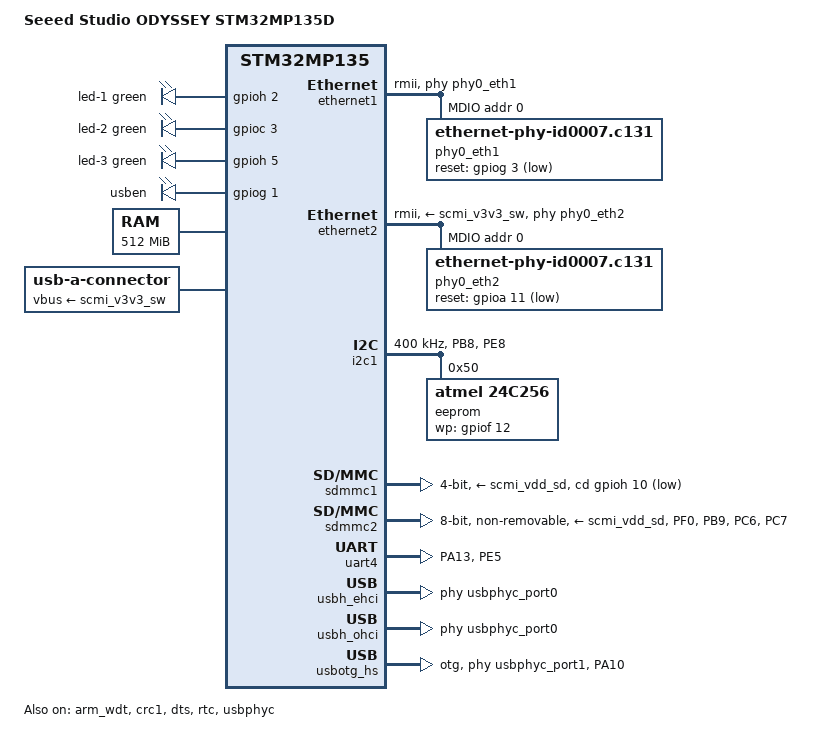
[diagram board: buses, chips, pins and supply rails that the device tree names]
// SPDX-License-Identifier: (GPL-2.0+ OR BSD-3-Clause)
/*
 * Seeed Studio ODYSSEY STM32MP135D U-Boot board device tree.
 * U-Boot appends stm32mp135d-odyssey-u-boot.dtsi when this file is built.
 * Node content matches the Linux 6.6 board tree.
 *
 * Board nodes follow xogium st-linux arch/arm/boot/dts/stm32mp135d-odyssey.dts
 * at tag v6.1-stm32mp-odyssey-r4, retargeted onto the Scarthgap STM32MP13
 * labels (ethernet1/ethernet2, scmi regulator nodes). STM32MP135F-DK devices
 * are not enabled: CRYP, the Discovery panel, the Wi-Fi SDIO slot, and the
 * Type-C controller.
 */

/dts-v1/;

#include <dt-bindings/gpio/gpio.h>
#include <dt-bindings/leds/common.h>
#include <dt-bindings/regulator/st,stm32mp13-regulator.h>
#include "stm32mp135.dtsi"
#include "stm32mp13xd.dtsi"
#include "stm32mp13-pinctrl.dtsi"

/ {
	model = "Seeed Studio ODYSSEY STM32MP135D";
	compatible = "st,stm32mp135d-odyssey", "st,stm32mp135";

	aliases {
		ethernet0 = &ethernet1;
		ethernet1 = &ethernet2;
		mmc0 = &sdmmc1;
		mmc1 = &sdmmc2;
		serial0 = &uart4;
		serial1 = &usart2;
	};

	chosen {
		stdout-path = "serial0:115200n8";
	};

	leds {
		compatible = "gpio-leds";

		led-1 {
			function = LED_FUNCTION_HEARTBEAT;
			color = <LED_COLOR_ID_GREEN>;
			gpios = <&gpioh 2 GPIO_ACTIVE_HIGH>;
			linux,default-trigger = "heartbeat";
			default-state = "off";
		};

		led-2 {
			function = LED_FUNCTION_DISK_READ;
			color = <LED_COLOR_ID_GREEN>;
			gpios = <&gpioc 3 GPIO_ACTIVE_HIGH>;
			linux,default-trigger = "mmc0";
			default-state = "off";
		};

		led-3 {
			function = LED_FUNCTION_DISK_WRITE;
			color = <LED_COLOR_ID_GREEN>;
			gpios = <&gpioh 5 GPIO_ACTIVE_HIGH>;
			linux,default-trigger = "mmc0";
			default-state = "off";
		};

		usben {
			label = "usben";
			gpios = <&gpiog 1 GPIO_ACTIVE_HIGH>;
			default-state = "on";
		};
	};

	memory@c0000000 {
		device_type = "memory";
		reg = <0xc0000000 0x20000000>;
	};

	reserved-memory {
		#address-cells = <1>;
		#size-cells = <1>;
		ranges;

		optee@dd000000 {
			reg = <0xdd000000 0x3000000>;
			no-map;
		};
	};
};

&arm_wdt {
	timeout-sec = <32>;
	status = "okay";
};

&crc1 {
	status = "okay";
};

&dts {
	status = "okay";
};

&ethernet1 {
	status = "okay";
	pinctrl-0 = <&eth1_rmii_pins_a>;
	pinctrl-1 = <&eth1_rmii_sleep_pins_a>;
	pinctrl-names = "default", "sleep";
	phy-mode = "rmii";
	max-speed = <100>;
	phy-handle = <&phy0_eth1>;
	nvmem-cells = <&eth1_mac_addr>;
	nvmem-cell-names = "mac-address";

	mdio {
		#address-cells = <1>;
		#size-cells = <0>;
		compatible = "snps,dwmac-mdio";

		phy0_eth1: ethernet-phy@0 {
			compatible = "ethernet-phy-id0007.c131";
			reset-gpios = <&gpiog 3 (GPIO_ACTIVE_LOW | GPIO_PULL_UP)>;
			reset-assert-us = <10000>;
			reset-deassert-us = <80000>;
			reg = <0>;
			wakeup-source;
		};
	};
};

&ethernet2 {
	status = "okay";
	pinctrl-0 = <&eth2_rmii_pins_a>;
	pinctrl-1 = <&eth2_rmii_sleep_pins_a>;
	pinctrl-names = "default", "sleep";
	phy-mode = "rmii";
	max-speed = <100>;
	phy-handle = <&phy0_eth2>;
	st,ext-phyclk;
	phy-supply = <&scmi_v3v3_sw>;
	nvmem-cells = <&eth2_mac_addr>;
	nvmem-cell-names = "mac-address";

	mdio {
		#address-cells = <1>;
		#size-cells = <0>;
		compatible = "snps,dwmac-mdio";

		phy0_eth2: ethernet-phy@0 {
			compatible = "ethernet-phy-id0007.c131";
			reset-gpios = <&gpioa 11 (GPIO_ACTIVE_LOW | GPIO_PULL_UP)>;
			reset-assert-us = <10000>;
			reset-deassert-us = <80000>;
			reg = <0>;
		};
	};
};

&i2c1 {
	pinctrl-names = "default", "sleep";
	pinctrl-0 = <&i2c1_pins_odyssey>;
	pinctrl-1 = <&i2c1_sleep_pins_odyssey>;
	i2c-scl-rising-time-ns = <300>;
	i2c-scl-falling-time-ns = <300>;
	clock-frequency = <400000>;
	status = "okay";
	/delete-property/dmas;
	/delete-property/dma-names;

	eeprom@50 {
		compatible = "atmel,24c256";
		reg = <0x50>;
		pagesize = <64>;
		wp-gpios = <&gpiof 12 GPIO_ACTIVE_HIGH>;
		#address-cells = <1>;
		#size-cells = <1>;

		eth1_mac_addr: mac@0 {
			reg = <0x0 0x6>;
		};

		eth2_mac_addr: mac@10 {
			reg = <0x10 0x6>;
		};
	};
};

&qspi {
	status = "disabled";
};

&rtc {
	status = "okay";
};

&sai1 {
	status = "disabled";
};

&scmi_regu {
	scmi_vddcpu: regulator@6 {
		reg = <VOLTD_SCMI_STPMIC1_BUCK1>;
		regulator-name = "vddcpu";
	};
	scmi_vdd: regulator@8 {
		reg = <VOLTD_SCMI_STPMIC1_BUCK3>;
		regulator-name = "vdd";
	};
	scmi_vddcore: regulator@9 {
		reg = <VOLTD_SCMI_STPMIC1_BUCK4>;
		regulator-name = "vddcore";
	};
	scmi_vdd_adc: regulator@a {
		reg = <VOLTD_SCMI_STPMIC1_LDO1>;
		regulator-name = "vdd_adc";
	};
	scmi_vdd_usb: regulator@d {
		reg = <VOLTD_SCMI_STPMIC1_LDO4>;
		regulator-name = "vdd_usb";
	};
	scmi_vdd_sd: regulator@e {
		reg = <VOLTD_SCMI_STPMIC1_LDO5>;
		regulator-name = "vdd_sd";
	};
	scmi_v1v8_periph: regulator@f {
		reg = <VOLTD_SCMI_STPMIC1_LDO6>;
		regulator-name = "v1v8_periph";
	};
	scmi_v3v3_sw: regulator@13 {
		reg = <VOLTD_SCMI_STPMIC1_PWR_SW2>;
		regulator-name = "v3v3_sw";
	};
};

&sdmmc1 {
	pinctrl-names = "default", "opendrain", "sleep";
	pinctrl-0 = <&sdmmc1_b4_pins_a &sdmmc1_clk_pins_a>;
	pinctrl-1 = <&sdmmc1_b4_od_pins_a &sdmmc1_clk_pins_a>;
	pinctrl-2 = <&sdmmc1_b4_sleep_pins_a>;
	cd-gpios = <&gpioh 10 (GPIO_ACTIVE_LOW | GPIO_PULL_UP)>;
	disable-wp;
	st,neg-edge;
	bus-width = <4>;
	vmmc-supply = <&scmi_vdd_sd>;
	status = "okay";
};

&sdmmc2 {
	pinctrl-names = "default", "opendrain", "sleep";
	pinctrl-0 = <&sdmmc2_b4_pins_a &sdmmc2_clk_pins_a &sdmmc2_d47_pins_a>;
	pinctrl-1 = <&sdmmc2_b4_od_pins_a &sdmmc2_clk_pins_a &sdmmc2_d47_pins_a>;
	pinctrl-2 = <&sdmmc2_b4_sleep_pins_a &sdmmc2_d47_sleep_pins_a>;
	non-removable;
	st,neg-edge;
	bus-width = <8>;
	vmmc-supply = <&scmi_vdd_sd>;
	vqmmc-supply = <&scmi_vdd_sd>;
	no-sd;
	no-sdio;
	mmc-ddr-3_3v;
	no-1-8-v;
	status = "okay";
};

&spi5 {
	status = "disabled";
};

&uart4 {
	pinctrl-names = "default", "sleep", "idle";
	pinctrl-0 = <&uart4_pins_odyssey>;
	pinctrl-1 = <&uart4_sleep_pins_odyssey>;
	pinctrl-2 = <&uart4_idle_pins_odyssey>;
	/delete-property/dmas;
	/delete-property/dma-names;
	status = "okay";
};

&usart2 {
	status = "disabled";
};

&usbh_ehci {
	phys = <&usbphyc_port0>;
	status = "okay";
};

&usbh_ohci {
	phys = <&usbphyc_port0>;
	status = "okay";
};

&usbotg_hs {
	pinctrl-0 = <&usbotg_hs_pins_odyssey>;
	pinctrl-names = "default";
	phys = <&usbphyc_port1 0>;
	phy-names = "usb2-phy";
	dr_mode = "otg";
	usb-role-switch;
	status = "okay";
};

&usbphyc {
	status = "okay";
};

&usbphyc_port0 {
	phy-supply = <&scmi_vdd_usb>;
	st,current-boost-microamp = <1000>;
	st,decrease-hs-slew-rate;
	st,tune-hs-dc-level = <2>;
	st,enable-hs-rftime-reduction;
	st,trim-hs-current = <11>;
	st,trim-hs-impedance = <2>;
	st,tune-squelch-level = <1>;
	st,enable-hs-rx-gain-eq;
	st,no-hs-ftime-ctrl;
	st,no-lsfs-sc;

	connector {
		compatible = "usb-a-connector";
		vbus-supply = <&scmi_v3v3_sw>;
	};
};

&usbphyc_port1 {
	phy-supply = <&scmi_vdd_usb>;
	st,current-boost-microamp = <1000>;
	st,decrease-hs-slew-rate;
	st,tune-hs-dc-level = <2>;
	st,enable-hs-rftime-reduction;
	st,trim-hs-current = <11>;
	st,trim-hs-impedance = <2>;
	st,tune-squelch-level = <1>;
	st,enable-hs-rx-gain-eq;
	st,no-hs-ftime-ctrl;
	st,no-lsfs-sc;
};

&pinctrl {
	i2c1_pins_odyssey: i2c1-odyssey {
		pins {
			pinmux = <STM32_PINMUX('B', 8, AF4)>, /* I2C1_SCL */
				 <STM32_PINMUX('E', 8, AF5)>; /* I2C1_SDA */
			bias-disable;
			drive-open-drain;
			slew-rate = <0>;
		};
	};

	i2c1_sleep_pins_odyssey: i2c1-sleep-odyssey {
		pins {
			pinmux = <STM32_PINMUX('B', 8, ANALOG)>, /* I2C1_SCL */
				 <STM32_PINMUX('E', 8, ANALOG)>; /* I2C1_SDA */
		};
	};

	sdmmc2_d47_pins_a: sdmmc2-d47-0 {
		pins {
			pinmux = <STM32_PINMUX('F', 0, AF10)>, /* SDMMC2_D4 */
				 <STM32_PINMUX('B', 9, AF10)>, /* SDMMC2_D5 */
				 <STM32_PINMUX('C', 6, AF10)>, /* SDMMC2_D6 */
				 <STM32_PINMUX('C', 7, AF10)>; /* SDMMC2_D7 */
			slew-rate = <1>;
			drive-push-pull;
			bias-pull-up;
		};
	};

	sdmmc2_d47_sleep_pins_a: sdmmc2-d47-sleep-0 {
		pins {
			pinmux = <STM32_PINMUX('F', 0, ANALOG)>, /* SDMMC2_D4 */
				 <STM32_PINMUX('B', 9, ANALOG)>, /* SDMMC2_D5 */
				 <STM32_PINMUX('C', 6, ANALOG)>, /* SDMMC2_D6 */
				 <STM32_PINMUX('C', 7, ANALOG)>; /* SDMMC2_D7 */
		};
	};

	uart4_pins_odyssey: uart4-odyssey {
		pins1 {
			pinmux = <STM32_PINMUX('A', 13, AF8)>; /* UART4_TX */
			bias-disable;
			drive-push-pull;
			slew-rate = <0>;
		};
		pins2 {
			pinmux = <STM32_PINMUX('E', 5, AF8)>; /* UART4_RX */
			bias-disable;
		};
	};

	uart4_idle_pins_odyssey: uart4-idle-odyssey {
		pins1 {
			pinmux = <STM32_PINMUX('A', 13, ANALOG)>; /* UART4_TX */
		};
		pins2 {
			pinmux = <STM32_PINMUX('E', 5, AF8)>; /* UART4_RX */
			bias-disable;
		};
	};

	uart4_sleep_pins_odyssey: uart4-sleep-odyssey {
		pins {
			pinmux = <STM32_PINMUX('A', 13, ANALOG)>, /* UART4_TX */
				 <STM32_PINMUX('E', 5, ANALOG)>; /* UART4_RX */
		};
	};

	usbotg_hs_pins_odyssey: usbotg-hs-odyssey {
		pins {
			pinmux = <STM32_PINMUX('A', 10, ANALOG)>; /* OTG_ID */
			bias-pull-down;
		};
	};
};
